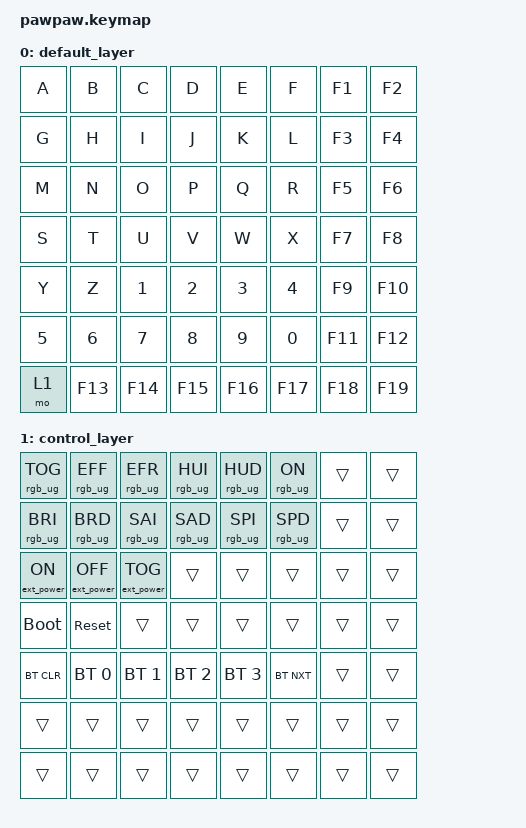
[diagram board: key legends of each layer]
/*
 * Bring-up test keymap for the Skree Pawpaw.
 * SPDX-License-Identifier: MIT
 *
 * Sized for the test hardware on hand: a 6x6 sheet (rows R1-R6, cols C1-C6)
 * plus a 6-key thumb row on R7. Columns C7/C8 are populated so the build is
 * complete, but nothing is wired there yet.
 *
 * LAYER 0 - every wired position sends a DISTINCT key, so you can open a
 * key-tester website, press each switch and read off exactly which position
 * fired. Layout of what you should see:
 *
 *        C1  C2  C3  C4  C5  C6   | C7  C8 (unwired)
 *   R1    a   b   c   d   e   f   | F1  F2
 *   R2    g   h   i   j   k   l   | F3  F4
 *   R3    m   n   o   p   q   r   | F5  F6
 *   R4    s   t   u   v   w   x   | F7  F8
 *   R5    y   z   1   2   3   4   | F9  F10
 *   R6    5   6   7   8   9   0   | F11 F12
 *   R7   MO1 F13 F14 F15 F16 F17  | F18 F19
 *
 * R7C1 is the layer-hold key, so it types nothing. You prove it works by
 * holding it and confirming the layer-1 keys below respond.
 *
 * LAYER 1 - hold R7C1 for lighting and system control:
 *
 *        C1       C2       C3       C4       C5       C6
 *   R1  RGB_TOG  RGB_EFF  RGB_EFR  RGB_HUI  RGB_HUD  RGB_ON
 *   R2  RGB_BRI  RGB_BRD  RGB_SAI  RGB_SAD  RGB_SPI  RGB_SPD
 *   R3  EP_ON    EP_OFF   EP_TOG    -        -        -
 *   R4  BOOTLDR  RESET     -        -        -        -
 *   R5  BT_CLR   BT_SEL0  BT_SEL1  BT_SEL2  BT_SEL3  BT_NXT
 *   R6   -        -        -        -        -        -
 *
 * COMBO - pressing R7C5 + R7C6 together (F16+F17) toggles external power,
 * i.e. the SK6812 power FET on shift register index 9. It is a combo so you
 * cannot trip it by accident while walking the matrix.
 *
 * Note: ZMK ties underglow to ext-power by default
 * (CONFIG_ZMK_RGB_UNDERGLOW_EXT_POWER), so RGB_TOG already drives the FET.
 * The explicit EP_* keys and the combo are there to test the FET on its own.
 */

#include <behaviors.dtsi>
#include <dt-bindings/zmk/keys.h>
#include <dt-bindings/zmk/rgb.h>
#include <dt-bindings/zmk/ext_power.h>
#include <dt-bindings/zmk/bt.h>

/ {
    combos {
        compatible = "zmk,combos";

        /* R7C5 + R7C6 -> toggle the SK6812 power FET */
        combo_ext_power {
            timeout-ms = <60>;
            key-positions = <52 53>;
            bindings = <&ext_power EP_TOG>;
            layers = <0>;
        };
    };

    keymap {
        compatible = "zmk,keymap";

        default_layer {
            bindings = <
&kp A     &kp B    &kp C    &kp D    &kp E    &kp F     &kp F1   &kp F2
&kp G     &kp H    &kp I    &kp J    &kp K    &kp L     &kp F3   &kp F4
&kp M     &kp N    &kp O    &kp P    &kp Q    &kp R     &kp F5   &kp F6
&kp S     &kp T    &kp U    &kp V    &kp W    &kp X     &kp F7   &kp F8
&kp Y     &kp Z    &kp N1   &kp N2   &kp N3   &kp N4    &kp F9   &kp F10
&kp N5    &kp N6   &kp N7   &kp N8   &kp N9   &kp N0    &kp F11  &kp F12
&mo 1     &kp F13  &kp F14  &kp F15  &kp F16  &kp F17   &kp F18  &kp F19
            >;
        };

        control_layer {
            bindings = <
&rgb_ug RGB_TOG   &rgb_ug RGB_EFF  &rgb_ug RGB_EFR  &rgb_ug RGB_HUI  &rgb_ug RGB_HUD  &rgb_ug RGB_ON   &trans  &trans
&rgb_ug RGB_BRI   &rgb_ug RGB_BRD  &rgb_ug RGB_SAI  &rgb_ug RGB_SAD  &rgb_ug RGB_SPI  &rgb_ug RGB_SPD  &trans  &trans
&ext_power EP_ON  &ext_power EP_OFF &ext_power EP_TOG &trans          &trans           &trans           &trans  &trans
&bootloader       &sys_reset       &trans           &trans           &trans           &trans           &trans  &trans
&bt BT_CLR        &bt BT_SEL 0     &bt BT_SEL 1     &bt BT_SEL 2     &bt BT_SEL 3     &bt BT_NXT       &trans  &trans
&trans            &trans           &trans           &trans           &trans           &trans           &trans  &trans
&trans            &trans           &trans           &trans           &trans           &trans           &trans  &trans
            >;
        };
    };
};
